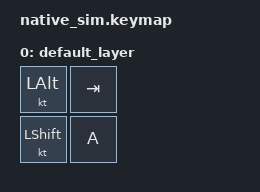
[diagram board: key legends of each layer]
#include <dt-bindings/zmk/keys.h>
#include <behaviors.dtsi>
#include <dt-bindings/zmk/kscan_mock.h>

&kscan {
    events = <
              /* Toggle LALT on */
              ZMK_MOCK_PRESS(0,0,10)
              ZMK_MOCK_RELEASE(0,0,10)
              /* Tap TAB twice */
              ZMK_MOCK_PRESS(0,1,10)
              ZMK_MOCK_RELEASE(0,1,10)
              ZMK_MOCK_PRESS(0,1,10)
              ZMK_MOCK_RELEASE(0,1,10)
              /* Toggle LSHFT on */
              ZMK_MOCK_PRESS(1,0,10)
              ZMK_MOCK_RELEASE(1,0,10)
              /* Tap TAB once */
              ZMK_MOCK_PRESS(0,1,10)
              ZMK_MOCK_RELEASE(0,1,10)
              /* Toggle LALT off */
              ZMK_MOCK_PRESS(0,0,10)
              ZMK_MOCK_RELEASE(0,0,10)
              /* Tap A */
              ZMK_MOCK_PRESS(1,1,10)
              ZMK_MOCK_RELEASE(1,1,10)
              /* Toggle LSHFT off */
              ZMK_MOCK_PRESS(1,0,10)
              ZMK_MOCK_RELEASE(1,0,10)
              /* Tap A */
              ZMK_MOCK_PRESS(1,1,10)
              ZMK_MOCK_RELEASE(1,1,10)>;
};

/ {
    keymap {
        compatible = "zmk,keymap";

        default_layer {
            bindings = <&kt LALT &kp TAB
                        &kt LSHFT &kp A>;
        };
    };
};
